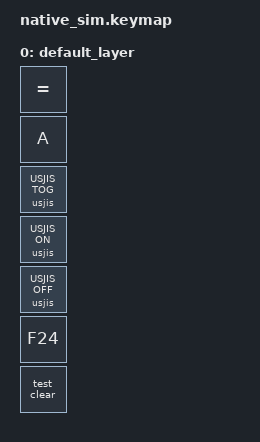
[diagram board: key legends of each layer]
/* Generated by tests/zmk/generate.py; do not edit. */
#include <dt-bindings/zmk/keys.h>
#include <behaviors.dtsi>
#include <dt-bindings/zmk/kscan_mock.h>
#include <dt-bindings/zmk/usjis.h>

&kscan {
    rows = <1>;
    columns = <7>;
    events = <
        ZMK_MOCK_PRESS(0,3,10)
        ZMK_MOCK_RELEASE(0,3,10)
        ZMK_MOCK_PRESS(0,3,10)
        ZMK_MOCK_RELEASE(0,3,10)
        ZMK_MOCK_PRESS(0,0,10)
        ZMK_MOCK_RELEASE(0,0,10)
        ZMK_MOCK_PRESS(0,2,10)
        ZMK_MOCK_RELEASE(0,2,10)
        ZMK_MOCK_PRESS(0,4,10)
        ZMK_MOCK_RELEASE(0,4,10)
        ZMK_MOCK_PRESS(0,2,10)
        ZMK_MOCK_RELEASE(0,2,10)
        ZMK_MOCK_PRESS(0,2,10)
        ZMK_MOCK_RELEASE(0,2,10)
        ZMK_MOCK_PRESS(0,5,10)
        ZMK_MOCK_RELEASE(0,5,10)
        ZMK_MOCK_PRESS(0,1,10)
        ZMK_MOCK_PRESS(0,2,10)
        ZMK_MOCK_RELEASE(0,2,10)
        ZMK_MOCK_PRESS(0,3,10)
        ZMK_MOCK_RELEASE(0,3,10)
        ZMK_MOCK_RELEASE(0,1,10)
        ZMK_MOCK_PRESS(0,5,10)
        ZMK_MOCK_RELEASE(0,5,10)
        ZMK_MOCK_PRESS(0,0,10)
        ZMK_MOCK_PRESS(0,2,10)
        ZMK_MOCK_RELEASE(0,2,10)
        ZMK_MOCK_PRESS(0,2,10)
        ZMK_MOCK_RELEASE(0,2,10)
        ZMK_MOCK_RELEASE(0,0,10)
        ZMK_MOCK_PRESS(0,0,10)
        ZMK_MOCK_PRESS(0,4,10)
        ZMK_MOCK_RELEASE(0,4,10)
        ZMK_MOCK_PRESS(0,3,10)
        ZMK_MOCK_RELEASE(0,3,10)
        ZMK_MOCK_RELEASE(0,0,10)
        ZMK_MOCK_PRESS(0,0,10)
        ZMK_MOCK_PRESS(0,4,10)
        ZMK_MOCK_RELEASE(0,4,10)
        ZMK_MOCK_PRESS(0,4,10)
        ZMK_MOCK_RELEASE(0,4,10)
        ZMK_MOCK_RELEASE(0,0,10)
        ZMK_MOCK_PRESS(0,5,10)
        ZMK_MOCK_RELEASE(0,5,10)
        ZMK_MOCK_PRESS(0,1,10)
        ZMK_MOCK_PRESS(0,3,10)
        ZMK_MOCK_RELEASE(0,3,10)
        ZMK_MOCK_PRESS(0,6,10)
        ZMK_MOCK_RELEASE(0,6,10)
        ZMK_MOCK_RELEASE(0,1,10)
        ZMK_MOCK_PRESS(0,0,10)
        ZMK_MOCK_RELEASE(0,0,10)
        ZMK_MOCK_PRESS(0,0,10)
        ZMK_MOCK_PRESS(0,6,10)
        ZMK_MOCK_RELEASE(0,6,10)
        ZMK_MOCK_PRESS(0,2,10)
        ZMK_MOCK_RELEASE(0,2,10)
        ZMK_MOCK_RELEASE(0,0,10)
        ZMK_MOCK_PRESS(0,5,10)
        ZMK_MOCK_RELEASE(0,5,10)
    >;
};

/ {
    behaviors {
        usjis: usjis {
            compatible = "zmk,behavior-usjis";
            #binding-cells = <1>;
        };
        test_clear: test_clear {
            compatible = "zmk,behavior-test-clear";
            #binding-cells = <0>;
        };
    };
};

/ {
    keymap {
        compatible = "zmk,keymap";
        default_layer {
            bindings = <
                &kp EQUAL
                &kp A
                &usjis USJIS_TOG
                &usjis USJIS_ON
                &usjis USJIS_OFF
                &kp F24
                &test_clear
            >;
        };
    };
};
